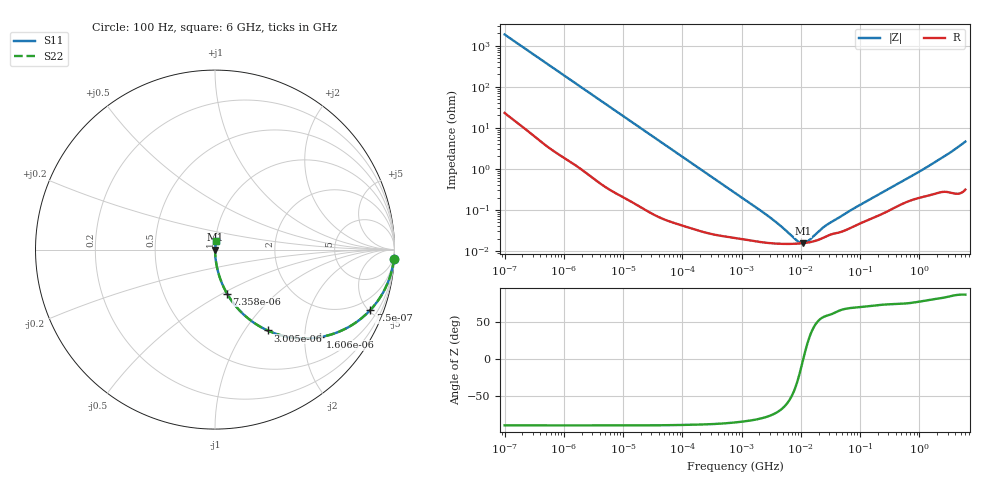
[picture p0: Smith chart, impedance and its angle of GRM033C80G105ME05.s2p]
!Murata Part Number: GRM033C80G105ME05
!These Parameters are Measured in Series Mode Connection
!Data Generated on Mar 30, 2021
!  o--ll--o
!Port1  Port2
!  o------o
!Operation Temp=25[degC], DC Bias Voltage=0[V]
!Freq. Start=100[Hz] Stop=6[GHz] 401[Steps]
# Hz S RI R 50
!Freq.(Hz) S11(Real) S11(Imag) S21(Real) S21(Imag) S12(Real) S12(Imag) S22(Real) S22(Imag)
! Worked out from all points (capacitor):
!   401 points, 100 Hz to 6 GHz, reference 50 ohm
!   read as one part in series: C = 842 nF near 109 Hz
!   lowest |Z| = 15.4 mohm at 10.87 MHz (marker M1)
!   series resonance near 11.04 MHz, so ESL is about 250 pH
!   S11 on the Smith chart (normalised r, x): 100 Hz: 1, -38; 750 Hz: 1.05, -5.09; 1.606 kHz: 1.02, -2.39; 3.005 kHz: 1.01, -1.28; 7.358 kHz: 1.01, -0.53; 6 GHz: 1.01, +0.09
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100  0.9966 -0.0528  0.00344 0.0528  0.00344 0.0528  0.9966 -0.0528
293  0.9753 -0.15  0.0247 0.15  0.0247 0.15  0.9753 -0.15
501  0.9333 -0.2447  0.0667 0.2447  0.0667 0.2447  0.9333 -0.2447
750  0.8641 -0.3379  0.1359 0.3379  0.1359 0.3379  0.8641 -0.3379
1073  0.7587 -0.423  0.2413 0.423  0.2413 0.423  0.7587 -0.423
1606  0.5875 -0.4873  0.4125 0.4873  0.4125 0.4873  0.5875 -0.4873
2008  0.4784 -0.4946  0.5216 0.4946  0.5216 0.4946  0.4784 -0.4946
3005  0.2932 -0.4505  0.7068 0.4505  0.7068 0.4505  0.2932 -0.4505
4702  0.1467 -0.3492  0.8533 0.3492  0.8533 0.3492  0.1467 -0.3492
7358  0.0668 -0.2449  0.9332 0.2449  0.9332 0.2449  0.0668 -0.2449
15752  0.0164 -0.1213  0.9836 0.1213  0.9836 0.1213  0.0164 -0.1213
40335  0.003 -0.0483  0.997 0.0483  0.997 0.0483  0.003 -0.0483
774597  0.000213 -0.00259  0.9998 0.00259  0.9998 0.00259  0.000213 -0.00259
3245845  0.000153 -0.000584  0.9998 0.000584  0.9998 0.000584  0.000153 -0.000584
8692127  0.00015 -9.09e-05  0.9999 9.09e-05  0.9999 9.09e-05  0.00015 -9.09e-05
1.087309e7  0.000154 -5.5e-06  0.9998 5.5e-06  0.9998 5.5e-06  0.000154 -5.5e-06
1.243624e7  0.000158 4.52e-05  0.9998 -4.52e-05  0.9998 -4.52e-05  0.000158 4.52e-05
1.555665e7  0.000167 0.000131  0.9998 -0.000131  0.9998 -0.000131  0.000167 0.000131
2.911731e7  0.000239 0.000388  0.9998 -0.000388  0.9998 -0.000388  0.000239 0.000388
3.124326e8  0.000979 0.0032  0.999 -0.0032  0.999 -0.0032  0.000979 0.0032
1.369159e9  0.00231 0.0109  0.9977 -0.0109  0.9977 -0.0109  0.00231 0.0109
6e9  0.00521 0.0457  0.9948 -0.0457  0.9948 -0.0457  0.00521 0.0457
